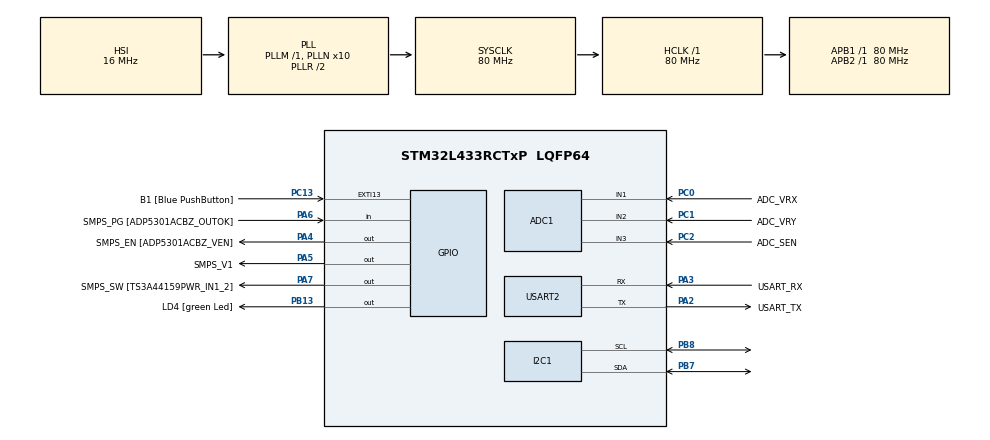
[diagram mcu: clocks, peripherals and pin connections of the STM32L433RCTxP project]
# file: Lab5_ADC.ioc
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ADC1.Channel-1\#ChannelRegularConversion=ADC_CHANNEL_1
ADC1.Channel-2\#ChannelRegularConversion=ADC_CHANNEL_2
ADC1.Channel-3\#ChannelRegularConversion=ADC_CHANNEL_3
ADC1.ContinuousConvMode=ENABLE
ADC1.NbrOfConversion=3
ADC1.NbrOfConversionFlag=1
ADC1.OffsetNumber-1\#ChannelRegularConversion=ADC_OFFSET_NONE
ADC1.OffsetNumber-2\#ChannelRegularConversion=ADC_OFFSET_NONE
ADC1.OffsetNumber-3\#ChannelRegularConversion=ADC_OFFSET_NONE
ADC1.Rank-1\#ChannelRegularConversion=1
ADC1.Rank-2\#ChannelRegularConversion=2
ADC1.Rank-3\#ChannelRegularConversion=3
ADC1.SamplingTime-1\#ChannelRegularConversion=ADC_SAMPLETIME_640CYCLES_5
ADC1.SamplingTime-2\#ChannelRegularConversion=ADC_SAMPLETIME_640CYCLES_5
ADC1.SamplingTime-3\#ChannelRegularConversion=ADC_SAMPLETIME_640CYCLES_5
ADC1.master=1
I2C1.Timing=0x10D19CE4
Mcu.Family=STM32L4
Mcu.Name=STM32L433RCTxP
Mcu.Package=LQFP64
NVIC.ADC1_IRQn=true\:0\:0\:false\:false\:true\:true\:true\:true
NVIC.PriorityGroup=NVIC_PRIORITYGROUP_4
NVIC.TIM2_IRQn=true\:0\:0\:false\:false\:true\:true\:true\:true
PA13\ (JTMS-SWDIO).GPIO_Label=TMS
PA13\ (JTMS-SWDIO).Mode=Serial_Wire
PA13\ (JTMS-SWDIO).Signal=SYS_JTMS-SWDIO
PA14\ (JTCK-SWCLK).GPIO_Label=TCK
PA14\ (JTCK-SWCLK).Mode=Serial_Wire
PA14\ (JTCK-SWCLK).Signal=SYS_JTCK-SWCLK
PA2.GPIO_Label=USART_TX
PA2.GPIO_Mode=GPIO_MODE_AF_PP
PA2.GPIO_PuPd=GPIO_NOPULL
PA2.GPIO_Speed=GPIO_SPEED_FREQ_VERY_HIGH
PA2.Mode=Asynchronous
PA2.Signal=USART2_TX
PA3.GPIO_Label=USART_RX
PA3.GPIO_Mode=GPIO_MODE_AF_PP
PA3.GPIO_PuPd=GPIO_NOPULL
PA3.GPIO_Speed=GPIO_SPEED_FREQ_VERY_HIGH
PA3.Mode=Asynchronous
PA3.Signal=USART2_RX
PA4.GPIO_Label=SMPS_EN [ADP5301ACBZ_VEN]
PA4.Signal=GPIO_Output
PA5.GPIO_Label=SMPS_V1
PA5.GPIO_ModeDefaultOutputPP=GPIO_MODE_OUTPUT_PP
PA5.GPIO_PuPd=GPIO_NOPULL
PA5.GPIO_Speed=GPIO_SPEED_FREQ_LOW
PA5.Signal=GPIO_Output
PA6.GPIO_Label=SMPS_PG [ADP5301ACBZ_OUTOK]
PA6.GPIO_PuPd=GPIO_PULLUP
PA6.Signal=GPIO_Input
PA7.GPIO_Label=SMPS_SW [TS3A44159PWR_IN1_2]
PA7.Signal=GPIO_Output
PB13.GPIO_Label=LD4 [green Led]
PB13.Signal=GPIO_Output
PB3\ (JTDO-TRACESWO).GPIO_Label=SWO
PB3\ (JTDO-TRACESWO).Signal=SYS_JTDO-SWO
PB7.Mode=I2C
PB7.Signal=I2C1_SDA
PB8.Mode=I2C
PB8.Signal=I2C1_SCL
PC0.GPIO_Label=ADC_VRX
PC0.Signal=ADCx_IN1
PC1.GPIO_Label=ADC_VRY
PC1.Signal=ADCx_IN2
PC13.GPIO_Label=B1 [Blue PushButton]
PC13.GPIO_ModeDefaultEXTI=GPIO_MODE_IT_FALLING
PC13.GPIO_PuPd=GPIO_NOPULL
PC13.Signal=GPXTI13
PC14-OSC32_IN\ (PC14).Mode=LSE-External-Oscillator
PC14-OSC32_IN\ (PC14).Signal=RCC_OSC32_IN
PC15-OSC32_OUT\ (PC15).Mode=LSE-External-Oscillator
PC15-OSC32_OUT\ (PC15).Signal=RCC_OSC32_OUT
PC2.GPIO_Label=ADC_SEN
PC2.Signal=ADCx_IN3
PH0-OSC_IN\ (PH0).GPIO_Label=MCO
PH0-OSC_IN\ (PH0).Mode=HSE-External-Clock-Source
PH0-OSC_IN\ (PH0).Signal=RCC_OSC_IN
PH1-OSC_OUT\ (PH1).Signal=RCC_OSC_OUT
ProjectManager.HeapSize=0x200
ProjectManager.StackSize=0x400
ProjectManager.TargetToolchain=STM32CubeIDE
RCC.ADCFreq_Value=64000000
RCC.AHBFreq_Value=80000000
RCC.APB1Freq_Value=80000000
RCC.APB1TimFreq_Value=80000000
RCC.APB2Freq_Value=80000000
RCC.APB2TimFreq_Value=80000000
RCC.CortexFreq_Value=80000000
RCC.HCLKFreq_Value=80000000
RCC.HSE_VALUE=8000000
RCC.HSI48_VALUE=48000000
RCC.HSI_VALUE=16000000
RCC.MSI_VALUE=4000000
RCC.PLLN=10
RCC.PLLSourceVirtual=RCC_PLLSOURCE_HSI
RCC.PREFETCH_ENABLE=1
RCC.SYSCLKFreq_VALUE=80000000
RCC.SYSCLKSource=RCC_SYSCLKSOURCE_PLLCLK
RCC.USBFreq_Value=64000000
RCC.VCOOutputFreq_Value=160000000
SH.ADCx_IN1.0=ADC1_IN1,IN1-Single-Ended
SH.ADCx_IN2.0=ADC1_IN2,IN2-Single-Ended
SH.ADCx_IN3.0=ADC1_IN3,IN3-Single-Ended
TIM2.Period=4294967290
USART2.VirtualMode-Asynchronous=VM_ASYNC
VP_TIM2_VS_ClockSourceINT.Mode=Internal
board=NUCLEO-L433RC-P

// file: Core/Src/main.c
/* USER CODE BEGIN Header */
/**
  ******************************************************************************
  * @file           : main.c
  * @brief          : Main program body
  ******************************************************************************
  * @attention
  *
  * Copyright (c) 2025 STMicroelectronics.
  * All rights reserved.
  *
  * This software is licensed under terms that can be found in the LICENSE file
  * in the root directory of this software component.
  * If no LICENSE file comes with this software, it is provided AS-IS.
  *
  ******************************************************************************
  */
/* USER CODE END Header */
#include "main.h"

/* USER CODE BEGIN Includes */
#include "lcd.h"
#include <stdio.h>

/* USER CODE END Includes */

ADC_HandleTypeDef hadc1;

I2C_HandleTypeDef hi2c1;

TIM_HandleTypeDef htim2;

UART_HandleTypeDef huart2;

void SystemClock_Config(void);
static void MX_GPIO_Init(void);
static void MX_USART2_UART_Init(void);
static void MX_TIM2_Init(void);
static void MX_ADC1_Init(void);
static void MX_I2C1_Init(void);
/* USER CODE BEGIN PFP */

uint32_t reading = 0;
TextLCDType lcd;
uint16_t i = 0;
uint8_t	ADCSET  = 0;

#define ADC_BUF_SIZE 3
uint16_t adc_buffer[ADC_BUF_SIZE];
int adc_buf_ix = 0;

#define JOY_X_IX 0
#define JOY_Y_IX 1
#define FOTO_IX 2
float x;
float y;
float light;
/* USER CODE END PFP */

/* USER CODE BEGIN 0 */

uint16_t read_one_adc_value(ADC_HandleTypeDef * hadc)
{
	HAL_ADC_Start(hadc);
	HAL_ADC_PollForConversion(hadc, 100);
	uint32_t value = HAL_ADC_GetValue(hadc);
	HAL_ADC_Stop(hadc);
	return (uint16_t)value;
}

float normalize_12bit(uint16_t i)
{
	return (float)i / 4095.0f;
}

float normalize_12bit_posneg(uint16_t i)
{
    float val = ((float)i - 2048.0f) / 2047.0f;
    if(val >= 0.95f) val = 1.0f;
    if(val <= -0.95f) val = -1.0f;
    return val;
}

void HAL_ADC_ConvCpltCallback(ADC_HandleTypeDef *hadc)
{
	if(hadc->Instance == ADC1){
		static uint8_t val = 0;

		adc_buffer[val] = HAL_ADC_GetValue(hadc);
		val = (val +1 ) % ADC_BUF_SIZE;
		ADCSET = 1;
	}
}

/* USER CODE END 0 */

int main(void)
{

  /* MCU Configuration--------------------------------------------------------*/

  /* Reset of all peripherals, Initializes the Flash interface and the Systick. */
  HAL_Init();

  /* Configure the system clock */
  SystemClock_Config();

  /* Initialize all configured peripherals */
  MX_GPIO_Init();
  MX_USART2_UART_Init();
  MX_TIM2_Init();
  MX_ADC1_Init();
  MX_I2C1_Init();
  /* USER CODE BEGIN 2 */
  	  HAL_TIM_Base_Start(&htim2);
  	//uint16_t adc_val = read_one_adc_value(&hadc1);
    HAL_ADC_Start_IT(&hadc1);
  	TextLCD_Init(&lcd, &hi2c1,0x4E);

  /* USER CODE END 2 */

  /* Infinite loop */
  /* USER CODE BEGIN WHILE */
  while (1)
  {

	  if(ADCSET)
	  {
	      x = normalize_12bit(adc_buffer[JOY_X_IX]);
	      y = -normalize_12bit_posneg(adc_buffer[JOY_Y_IX]);
	      light = 1.0f - normalize_12bit(adc_buffer[FOTO_IX]);

	      char line[17];
	      TextLCD_Position(&lcd, 0, 0);
	      sprintf(line, "%+.2fx", x);
	      TextLCD_PutStr(&lcd, line);

	      TextLCD_Position(&lcd, 0,1);
	      sprintf(line, "%+.2fy    %0.3fL", y, light);
	      TextLCD_PutStr(&lcd, line);

	      ADCSET = 0;
	  }

    /* USER CODE END WHILE */

  }
}

void SystemClock_Config(void)
{
  RCC_OscInitTypeDef RCC_OscInitStruct = {0};
  RCC_ClkInitTypeDef RCC_ClkInitStruct = {0};

  /** Configure the main internal regulator output voltage
  */
  if (HAL_PWREx_ControlVoltageScaling(PWR_REGULATOR_VOLTAGE_SCALE1) != HAL_OK)
  {
    Error_Handler();
  }

  /** Initializes the RCC Oscillators according to the specified parameters
  * in the RCC_OscInitTypeDef structure.
  */
  RCC_OscInitStruct.OscillatorType = RCC_OSCILLATORTYPE_HSI;
  RCC_OscInitStruct.HSIState = RCC_HSI_ON;
  RCC_OscInitStruct.HSICalibrationValue = RCC_HSICALIBRATION_DEFAULT;
  RCC_OscInitStruct.PLL.PLLState = RCC_PLL_ON;
  RCC_OscInitStruct.PLL.PLLSource = RCC_PLLSOURCE_HSI;
  RCC_OscInitStruct.PLL.PLLM = 1;
  RCC_OscInitStruct.PLL.PLLN = 10;
  RCC_OscInitStruct.PLL.PLLP = RCC_PLLP_DIV7;
  RCC_OscInitStruct.PLL.PLLQ = RCC_PLLQ_DIV2;
  RCC_OscInitStruct.PLL.PLLR = RCC_PLLR_DIV2;
  if (HAL_RCC_OscConfig(&RCC_OscInitStruct) != HAL_OK)
  {
    Error_Handler();
  }

  /** Initializes the CPU, AHB and APB buses clocks
  */
  RCC_ClkInitStruct.ClockType = RCC_CLOCKTYPE_HCLK|RCC_CLOCKTYPE_SYSCLK
                              |RCC_CLOCKTYPE_PCLK1|RCC_CLOCKTYPE_PCLK2;
  RCC_ClkInitStruct.SYSCLKSource = RCC_SYSCLKSOURCE_PLLCLK;
  RCC_ClkInitStruct.AHBCLKDivider = RCC_SYSCLK_DIV1;
  RCC_ClkInitStruct.APB1CLKDivider = RCC_HCLK_DIV1;
  RCC_ClkInitStruct.APB2CLKDivider = RCC_HCLK_DIV1;

  if (HAL_RCC_ClockConfig(&RCC_ClkInitStruct, FLASH_LATENCY_4) != HAL_OK)
  {
    Error_Handler();
  }
}

static void MX_ADC1_Init(void)
{

  ADC_ChannelConfTypeDef sConfig = {0};

  /** Common config
  */
  hadc1.Instance = ADC1;
  hadc1.Init.ClockPrescaler = ADC_CLOCK_ASYNC_DIV1;
  hadc1.Init.Resolution = ADC_RESOLUTION_12B;
  hadc1.Init.DataAlign = ADC_DATAALIGN_RIGHT;
  hadc1.Init.ScanConvMode = ADC_SCAN_ENABLE;
  hadc1.Init.EOCSelection = ADC_EOC_SINGLE_CONV;
  hadc1.Init.LowPowerAutoWait = DISABLE;
  hadc1.Init.ContinuousConvMode = ENABLE;
  hadc1.Init.NbrOfConversion = 3;
  hadc1.Init.DiscontinuousConvMode = DISABLE;
  hadc1.Init.ExternalTrigConv = ADC_SOFTWARE_START;
  hadc1.Init.ExternalTrigConvEdge = ADC_EXTERNALTRIGCONVEDGE_NONE;
  hadc1.Init.DMAContinuousRequests = DISABLE;
  hadc1.Init.Overrun = ADC_OVR_DATA_PRESERVED;
  hadc1.Init.OversamplingMode = DISABLE;
  if (HAL_ADC_Init(&hadc1) != HAL_OK)
  {
    Error_Handler();
  }

  /** Configure Regular Channel
  */
  sConfig.Channel = ADC_CHANNEL_1;
  sConfig.Rank = ADC_REGULAR_RANK_1;
  sConfig.SamplingTime = ADC_SAMPLETIME_640CYCLES_5;
  sConfig.SingleDiff = ADC_SINGLE_ENDED;
  sConfig.OffsetNumber = ADC_OFFSET_NONE;
  sConfig.Offset = 0;
  if (HAL_ADC_ConfigChannel(&hadc1, &sConfig) != HAL_OK)
  {
    Error_Handler();
  }

  /** Configure Regular Channel
  */
  sConfig.Channel = ADC_CHANNEL_2;
  sConfig.Rank = ADC_REGULAR_RANK_2;
  if (HAL_ADC_ConfigChannel(&hadc1, &sConfig) != HAL_OK)
  {
    Error_Handler();
  }

  /** Configure Regular Channel
  */
  sConfig.Channel = ADC_CHANNEL_3;
  sConfig.Rank = ADC_REGULAR_RANK_3;
  if (HAL_ADC_ConfigChannel(&hadc1, &sConfig) != HAL_OK)
  {
    Error_Handler();
  }

}

static void MX_I2C1_Init(void)
{

  hi2c1.Instance = I2C1;
  hi2c1.Init.Timing = 0x10D19CE4;
  hi2c1.Init.OwnAddress1 = 0;
  hi2c1.Init.AddressingMode = I2C_ADDRESSINGMODE_7BIT;
  hi2c1.Init.DualAddressMode = I2C_DUALADDRESS_DISABLE;
  hi2c1.Init.OwnAddress2 = 0;
  hi2c1.Init.OwnAddress2Masks = I2C_OA2_NOMASK;
  hi2c1.Init.GeneralCallMode = I2C_GENERALCALL_DISABLE;
  hi2c1.Init.NoStretchMode = I2C_NOSTRETCH_DISABLE;
  if (HAL_I2C_Init(&hi2c1) != HAL_OK)
  {
    Error_Handler();
  }

  /** Configure Analogue filter
  */
  if (HAL_I2CEx_ConfigAnalogFilter(&hi2c1, I2C_ANALOGFILTER_ENABLE) != HAL_OK)
  {
    Error_Handler();
  }

  /** Configure Digital filter
  */
  if (HAL_I2CEx_ConfigDigitalFilter(&hi2c1, 0) != HAL_OK)
  {
    Error_Handler();
  }

}

static void MX_TIM2_Init(void)
{

  TIM_ClockConfigTypeDef sClockSourceConfig = {0};
  TIM_MasterConfigTypeDef sMasterConfig = {0};

  htim2.Instance = TIM2;
  htim2.Init.Prescaler = 0;
  htim2.Init.CounterMode = TIM_COUNTERMODE_UP;
  htim2.Init.Period = 4294967290;
  htim2.Init.ClockDivision = TIM_CLOCKDIVISION_DIV1;
  htim2.Init.AutoReloadPreload = TIM_AUTORELOAD_PRELOAD_DISABLE;
  if (HAL_TIM_Base_Init(&htim2) != HAL_OK)
  {
    Error_Handler();
  }
  sClockSourceConfig.ClockSource = TIM_CLOCKSOURCE_INTERNAL;
  if (HAL_TIM_ConfigClockSource(&htim2, &sClockSourceConfig) != HAL_OK)
  {
    Error_Handler();
  }
  sMasterConfig.MasterOutputTrigger = TIM_TRGO_RESET;
  sMasterConfig.MasterSlaveMode = TIM_MASTERSLAVEMODE_DISABLE;
  if (HAL_TIMEx_MasterConfigSynchronization(&htim2, &sMasterConfig) != HAL_OK)
  {
    Error_Handler();
  }

}

static void MX_USART2_UART_Init(void)
{

  huart2.Instance = USART2;
  huart2.Init.BaudRate = 115200;
  huart2.Init.WordLength = UART_WORDLENGTH_8B;
  huart2.Init.StopBits = UART_STOPBITS_1;
  huart2.Init.Parity = UART_PARITY_NONE;
  huart2.Init.Mode = UART_MODE_TX_RX;
  huart2.Init.HwFlowCtl = UART_HWCONTROL_NONE;
  huart2.Init.OverSampling = UART_OVERSAMPLING_16;
  huart2.Init.OneBitSampling = UART_ONE_BIT_SAMPLE_DISABLE;
  huart2.AdvancedInit.AdvFeatureInit = UART_ADVFEATURE_NO_INIT;
  if (HAL_UART_Init(&huart2) != HAL_OK)
  {
    Error_Handler();
  }

}

static void MX_GPIO_Init(void)
{
  GPIO_InitTypeDef GPIO_InitStruct = {0};

  /* GPIO Ports Clock Enable */
  __HAL_RCC_GPIOC_CLK_ENABLE();
  __HAL_RCC_GPIOH_CLK_ENABLE();
  __HAL_RCC_GPIOA_CLK_ENABLE();
  __HAL_RCC_GPIOB_CLK_ENABLE();

  /*Configure GPIO pin Output Level */
  HAL_GPIO_WritePin(GPIOA, SMPS_EN_Pin|SMPS_V1_Pin|SMPS_SW_Pin, GPIO_PIN_RESET);

  /*Configure GPIO pin Output Level */
  HAL_GPIO_WritePin(LD4_GPIO_Port, LD4_Pin, GPIO_PIN_RESET);

  /*Configure GPIO pin : B1_Pin */
  GPIO_InitStruct.Pin = B1_Pin;
  GPIO_InitStruct.Mode = GPIO_MODE_IT_FALLING;
  GPIO_InitStruct.Pull = GPIO_NOPULL;
  HAL_GPIO_Init(B1_GPIO_Port, &GPIO_InitStruct);

  /*Configure GPIO pins : SMPS_EN_Pin SMPS_V1_Pin SMPS_SW_Pin */
  GPIO_InitStruct.Pin = SMPS_EN_Pin|SMPS_V1_Pin|SMPS_SW_Pin;
  GPIO_InitStruct.Mode = GPIO_MODE_OUTPUT_PP;
  GPIO_InitStruct.Pull = GPIO_NOPULL;
  GPIO_InitStruct.Speed = GPIO_SPEED_FREQ_LOW;
  HAL_GPIO_Init(GPIOA, &GPIO_InitStruct);

  /*Configure GPIO pin : SMPS_PG_Pin */
  GPIO_InitStruct.Pin = SMPS_PG_Pin;
  GPIO_InitStruct.Mode = GPIO_MODE_INPUT;
  GPIO_InitStruct.Pull = GPIO_PULLUP;
  HAL_GPIO_Init(SMPS_PG_GPIO_Port, &GPIO_InitStruct);

  /*Configure GPIO pin : LD4_Pin */
  GPIO_InitStruct.Pin = LD4_Pin;
  GPIO_InitStruct.Mode = GPIO_MODE_OUTPUT_PP;
  GPIO_InitStruct.Pull = GPIO_NOPULL;
  GPIO_InitStruct.Speed = GPIO_SPEED_FREQ_LOW;
  HAL_GPIO_Init(LD4_GPIO_Port, &GPIO_InitStruct);

}

void Error_Handler(void)
{
  __disable_irq();
  while (1)
  {
  }
}
